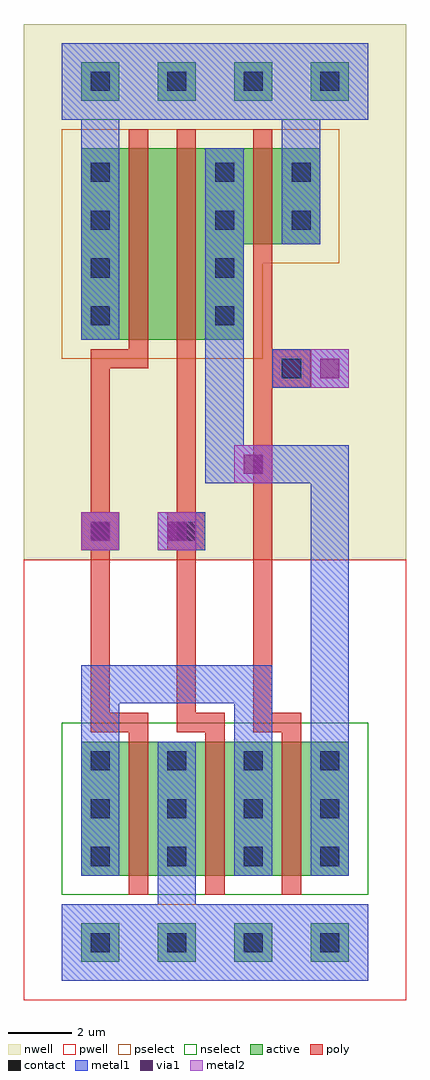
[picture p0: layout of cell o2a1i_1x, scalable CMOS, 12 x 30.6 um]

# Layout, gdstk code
import gdstk
lib = gdstk.Library(unit=1e-6, precision=1e-09)
def R(c, l, rs):  # rectangles x0, y0, x1, y1
    for r in rs: c.add(gdstk.rectangle(r[:2], r[2:], *l))
def A(c, l, x, y, w, h, nx, ny, dx, dy):  # array of equal rectangles
    R(c, l, [(x+i*dx, y+j*dy, x+i*dx+w, y+j*dy+h) for i in range(nx) for j in range(ny)])
contact = (25, 0)
pwell = (41, 0)
nwell = (42, 0)
active = (43, 0)
pselect = (44, 0)
nselect = (45, 0)
poly = (46, 0)
metal1 = (49, 0)
via1 = (50, 0)
metal2 = (51, 0)

o2a1i_1x = lib.new_cell('o2a1i_1x')
A(o2a1i_1x, contact, 0.3, -0.3, 0.6, 0.6, 4, 2, 2.4, 2.7)
A(o2a1i_1x, contact, 0.3, 3.9, 0.6, 0.6, 4, 2, 2.4, 1.5)
A(o2a1i_1x, contact, 0.3, 19.35, 0.6, 0.6, 1, 4, 0, 1.5)
A(o2a1i_1x, contact, 4.2, 19.35, 0.6, 0.6, 1, 4, 0, 1.5)
A(o2a1i_1x, contact, 0.3, 26.7, 0.6, 0.6, 4, 1, 2.4, 0)
R(o2a1i_1x, contact, [(0.3,12.6,0.9,13.2), (3,12.6,3.6,13.2), (6.3,17.7,6.9,18.3), (6.6,22.35,7.2,22.95), (6.6,23.85,7.2,24.45)])
A(o2a1i_1x, pwell, -0.9, -1.5, 3, 3, 4, 1, 2.4, 0)
A(o2a1i_1x, pwell, -1.8, 0.3, 4.8, 7.8, 4, 1, 2.4, 0)
A(o2a1i_1x, pwell, -1.2, 0.3, 6, 7.8, 3, 1, 2.4, 0)
R(o2a1i_1x, pwell, [(-1.8,-1.8,10.2,12), (-1.65,1.95,2.925,6.45), (0.675,1.95,5.25,6.45), (0.75,1.95,5.325,6.45), (3.075,1.95,7.65,6.45), (3.075,1.95,7.725,6.45), (5.475,1.95,10.2,6.45)])
A(o2a1i_1x, nwell, -0.9, 25.5, 3, 3, 4, 1, 2.4, 0)
R(o2a1i_1x, nwell, [(-1.8,12,10.2,28.8), (-1.8,17.1,3,26.7), (-1.2,17.1,4.8,26.7), (0.3,17.1,6.3,26.7), (2.1,17.1,6.9,26.7), (-1.65,18.15,2.925,22.65), (-0.075,18.15,5.175,22.65), (2.175,18.15,6.9,22.65), (2.7,20.1,8.7,26.7), (4.5,20.1,9.3,26.7), (4.575,20.4,9.3,24.9), (2.25,20.55,6.825,25.05)])
A(o2a1i_1x, active, 0, -0.6, 1.2, 1.2, 4, 2, 2.4, 27)
A(o2a1i_1x, active, 0, 2.1, 1.2, 4.2, 4, 1, 2.4, 0)
A(o2a1i_1x, active, 0.6, 2.1, 2.4, 4.2, 3, 1, 2.4, 0)
R(o2a1i_1x, active, [(0.15,3.75,1.125,4.65), (2.475,3.75,3.45,4.65), (2.55,3.75,3.525,4.65), (4.875,3.75,5.85,4.65), (4.875,3.75,5.925,4.65), (7.275,3.75,8.4,4.65), (0,18.9,1.2,24.9), (0.6,18.9,3,24.9), (2.1,18.9,4.5,24.9), (3.9,18.9,5.1,24.9), (0.15,19.95,1.125,20.85), (1.725,19.95,3.375,20.85), (3.975,19.95,5.1,20.85), (4.5,21.9,6.9,24.9), (6.3,21.9,7.5,24.9), (6.375,22.2,7.5,23.1), (4.05,22.35,5.025,23.25)])
A(o2a1i_1x, pselect, -0.6, -1.2, 2.4, 2.4, 4, 1, 2.4, 0)
R(o2a1i_1x, pselect, [(-0.6,18.3,1.8,25.5), (0,18.3,3.6,25.5), (1.5,18.3,5.1,25.5), (3.3,18.3,5.7,25.5), (-0.45,19.35,1.725,21.45), (1.125,19.35,3.975,21.45), (3.375,19.35,5.7,21.45), (3.9,21.3,7.5,25.5), (5.7,21.3,8.1,25.5), (5.775,21.6,8.1,23.7), (3.45,21.75,5.625,23.85)])
A(o2a1i_1x, nselect, -0.6, 1.5, 2.4, 5.4, 4, 1, 2.4, 0)
A(o2a1i_1x, nselect, 0, 1.5, 3.6, 5.4, 3, 1, 2.4, 0)
A(o2a1i_1x, nselect, -0.6, 25.8, 2.4, 2.4, 4, 1, 2.4, 0)
R(o2a1i_1x, nselect, [(-0.45,3.15,1.725,5.25), (1.875,3.15,4.05,5.25), (1.95,3.15,4.125,5.25), (4.275,3.15,6.45,5.25), (4.275,3.15,6.525,5.25), (6.675,3.15,9,5.25)])
A(o2a1i_1x, poly, 1.5, 1.5, 0.6, 5.4, 3, 1, 2.4, 0)
R(o2a1i_1x, poly, [(0.3,6.6,2.1,7.2), (0.3,6.6,0.9,13.2), (3,6.6,4.5,7.2), (3,6.6,3.6,13.2), (5.4,6.6,6.9,7.2), (5.4,6.6,6,18.3), (0,12.3,1.2,13.5), (2.7,12.3,3.9,13.5), (0.3,12.6,0.9,18.6), (3,12.6,3.6,18.6), (6,17.4,7.2,18.6), (5.4,17.7,6,21.6), (5.4,17.7,6.9,18.3), (0.3,18,2.1,18.6), (1.5,18.3,2.1,25.5), (3,18.3,3.6,25.5), (5.4,21.3,6,25.5)])
A(o2a1i_1x, metal1, -0.6, -1.2, 4.8, 2.4, 3, 1, 2.4, 0)
A(o2a1i_1x, metal1, 0, -0.6, 1.2, 1.2, 4, 2, 2.4, 27)
A(o2a1i_1x, metal1, 0, 2.1, 1.2, 4.2, 4, 1, 2.4, 0)
R(o2a1i_1x, metal1, [(-0.6,-1.2,1.8,1.2), (-0.6,-1.2,4.2,1.2), (2.4,-0.6,3.6,3.3), (0,5.1,1.2,8.7), (4.8,5.1,6,8.7), (7.2,5.1,8.4,15.6), (0,7.5,6,8.7), (0,12.3,1.2,13.5), (0,12.3,1.2,13.5), (0,12.3,1.2,13.5), (2.4,12.3,3.6,13.5), (2.4,12.3,3.9,13.5), (2.7,12.3,3.9,13.5), (3.9,14.4,6.3,15.6), (3.9,14.4,5.1,20.1), (4.8,14.4,6,15.6), (5.1,14.4,8.4,15.6), (6,17.4,7.2,18.6), (6,17.4,8.4,18.6), (7.2,17.4,8.4,18.6), (0,18.9,1.2,24.9), (3.9,18.9,5.1,24.9), (6.3,21.9,7.5,24.9), (0,23.7,1.2,27.6), (6.3,23.7,7.5,27.6), (-0.6,25.8,1.8,28.2), (-0.6,25.8,4.2,28.2), (1.8,25.8,8.1,28.2), (5.7,25.8,9,28.2), (0,26.4,1.2,27.6), (4.8,26.4,8.4,27.6), (7.2,26.4,8.4,27.6)])
R(o2a1i_1x, via1, [(0.3,12.6,0.9,13.2), (2.7,12.6,3.3,13.2), (5.1,14.7,5.7,15.3), (7.5,17.7,8.1,18.3)])
R(o2a1i_1x, metal2, [(0,12.3,1.2,13.5), (2.4,12.3,3.6,13.5), (4.8,14.4,6,15.6), (7.2,17.4,8.4,18.6)])

lib.write_gds('o2a1i_1x.gds')
